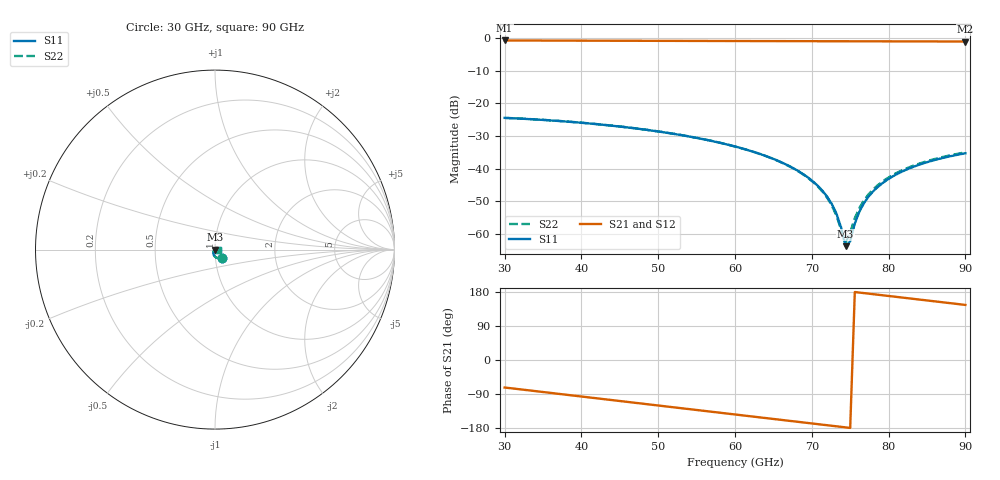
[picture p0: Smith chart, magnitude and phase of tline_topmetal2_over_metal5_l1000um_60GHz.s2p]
#  GHZ S DB R 50
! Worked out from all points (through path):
!   101 points, 30 GHz to 90 GHz, reference 50 ohm
!   highest |S21| = -0.67 dB at 30 GHz (marker M1); lowest = -1.0 dB at 90 GHz (marker M2)
!   group delay of S21, straight-line fit = 6.58 ps
!   lowest |S11| = -63.9 dB at 74.4 GHz (marker M3), VSWR 1.00, Z = 50 - j0.0641 ohm
!   |S11| at or under -10 dB: start of sweep to end of sweep
!   |S22| runs from -62.7 to -24.4 dB; largest |S21 - S12| = 1.1e-14
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30  -24.46 -47.6  -0.67 -72.6  -0.67 -72.6  -24.44 -47.7
35.4  -25.14 -60.0  -0.70 -85.4  -0.70 -85.4  -25.12 -60.1
40.2  -26.00 -71.0  -0.73 -96.8  -0.73 -96.8  -25.97 -71.1
45  -27.12 -81.9  -0.76 -108.2  -0.76 -108.2  -27.09 -82.0
50.4  -28.77 -94.2  -0.79 -121.0  -0.79 -121.0  -28.74 -94.3
60  -33.24 -115.8  -0.84 -143.8  -0.84 -143.8  -33.23 -115.8
66  -38.05 -128.6  -0.87 -158.0  -0.87 -158.0  -38.09 -128.3
68.4  -41.01 -133.1  -0.88 -163.6  -0.88 -163.6  -41.10 -132.5
70.2  -44.06 -135.7  -0.89 -167.9  -0.89 -167.9  -44.23 -134.6
71.4  -46.86 -136.6  -0.90 -170.7  -0.90 -170.7  -47.13 -134.7
72.6  -50.88 -135.1  -0.91 -173.6  -0.91 -173.6  -51.34 -131.5
73.2  -53.81 -131.8  -0.91 -175.0  -0.91 -175.0  -54.41 -126.0
73.8  -57.99 -122.7  -0.91 -176.4  -0.91 -176.4  -58.65 -111.5
74.4  -63.86 -89.0  -0.91 -177.8  -0.91 -177.8  -62.74 -67.5
75  -62.37 -20.0  -0.92 -179.2  -0.92 -179.2  -59.66 -16.8
75.6  -56.89 3.3  -0.92 179.4  -0.92 179.4  -55.27 1.1
76.2  -53.21 10.2  -0.92 177.9  -0.92 177.9  -52.11 7.6
76.8  -50.60 12.7  -0.93 176.5  -0.93 176.5  -49.76 10.3
78.6  -45.65 13.3  -0.94 172.3  -0.94 172.3  -45.12 11.5
80.4  -42.61 11.0  -0.94 168.0  -0.94 168.0  -42.19 9.4
84.6  -38.36 2.9  -0.96 158.1  -0.96 158.1  -38.04 1.6
90  -35.33 -9.0  -0.99 145.3  -0.99 145.3  -35.04 -10.1
